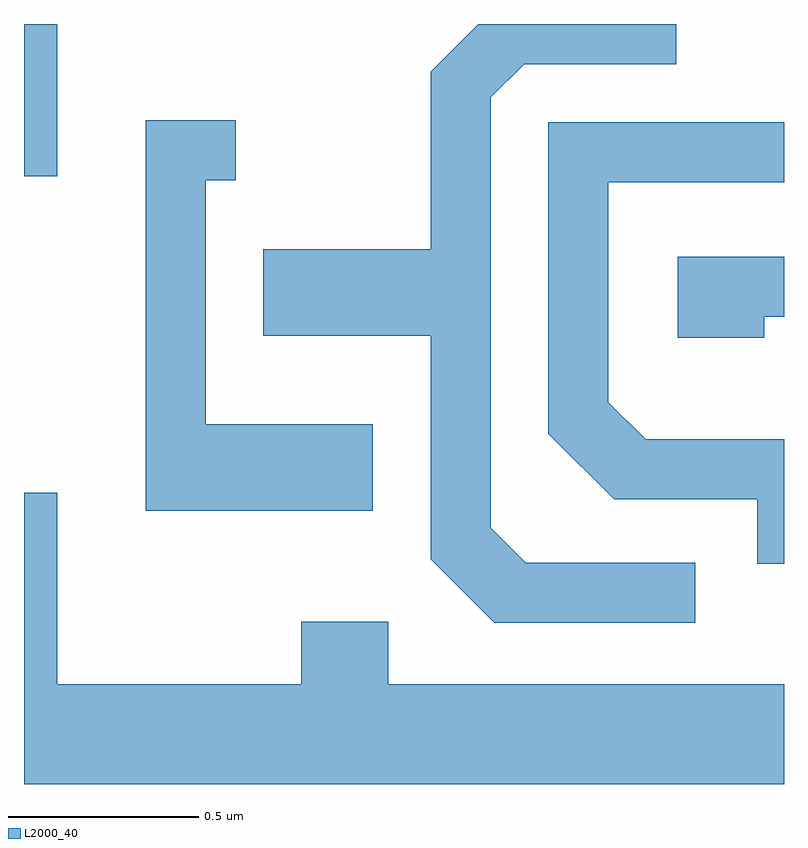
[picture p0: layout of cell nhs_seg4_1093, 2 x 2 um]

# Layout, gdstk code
import gdstk
lib = gdstk.Library(unit=1e-6, precision=1e-09)
def R(c, l, rs):  # rectangles x0, y0, x1, y1
    for r in rs: c.add(gdstk.rectangle(r[:2], r[2:], *l))
def P(c, l, *ps):  # polygons
    for p in ps: c.add(gdstk.Polygon(p, *l))
L2000_40 = (2000, 40)

nhs_seg4_1093 = lib.new_cell('nhs_seg4_1093')
R(nhs_seg4_1093, L2000_40, [(192.611,1389.581,192.699,1389.982)])
P(nhs_seg4_1093, L2000_40, [(194.378,1388.564),(193.932,1388.564),(193.839,1388.657),(193.839,1389.789),(193.927,1389.876),(194.328,1389.876),(194.328,1389.982),(193.807,1389.982),(193.681,1389.857),(193.681,1389.389),(193.241,1389.389),(193.241,1389.161),(193.681,1389.161),(193.681,1388.574),(193.849,1388.406),(194.378,1388.406)],
  [(193.529,1388.929),(193.089,1388.929),(193.089,1389.571),(193.168,1389.571),(193.168,1389.729),(192.931,1389.729),(192.931,1388.701),(193.529,1388.701)],
  [(194.611,1388.889),(194.247,1388.889),(194.149,1388.987),(194.149,1389.566),(194.611,1389.566),(194.611,1389.724),(193.991,1389.724),(193.991,1388.904),(194.164,1388.731),(194.541,1388.731),(194.541,1388.561),(194.611,1388.561)],
  [(194.559,1389.211),(194.611,1389.211),(194.611,1389.369),(194.331,1389.369),(194.331,1389.156),(194.559,1389.156)],
  [(194.611,1388.244),(193.569,1388.244),(193.569,1388.409),(193.341,1388.409),(193.341,1388.244),(192.699,1388.244),(192.699,1388.749),(192.611,1388.749),(192.611,1387.982),(194.611,1387.982)])

lib.write_gds('nhs_seg4_1093.gds')
